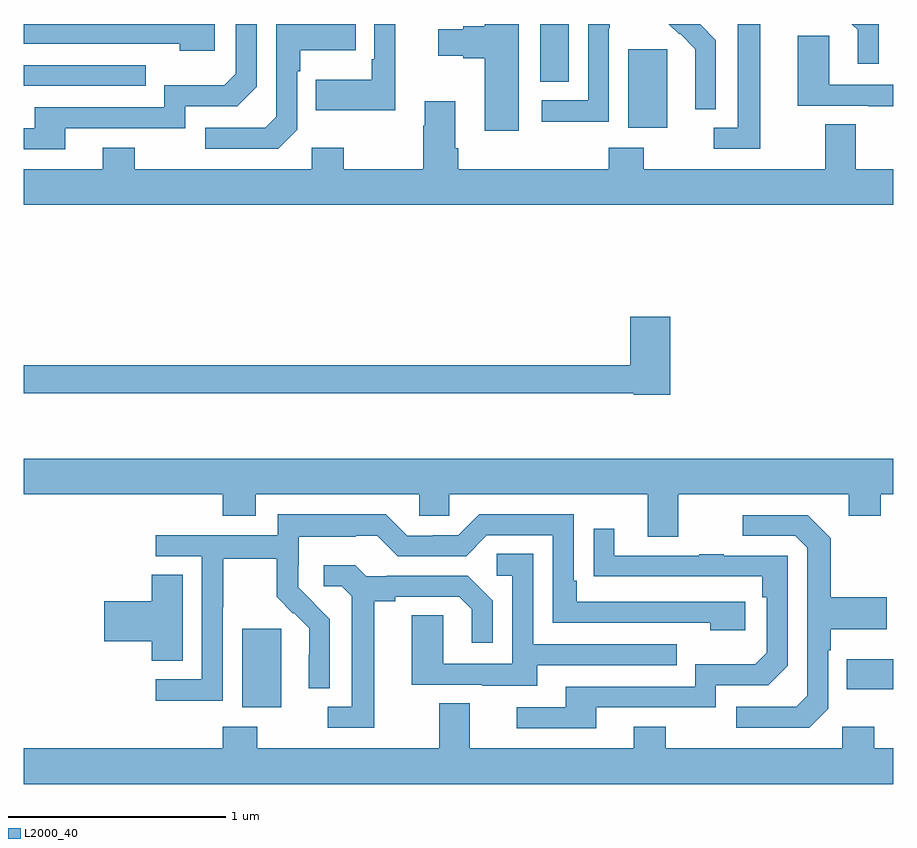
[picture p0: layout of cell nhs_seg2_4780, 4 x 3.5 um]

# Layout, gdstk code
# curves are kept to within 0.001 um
import gdstk
lib = gdstk.Library(unit=1e-6, precision=1e-09)
def R(c, l, rs):  # rectangles x0, y0, x1, y1
    for r in rs: c.add(gdstk.rectangle(r[:2], r[2:], *l))
def P(c, l, *ps):  # polygons
    for p in ps: c.add(gdstk.Polygon(p, *l))
L2000_40 = (2000, 40)

nhs_seg2_4780 = lib.new_cell('nhs_seg2_4780')
R(nhs_seg2_4780, L2000_40, [(372.005,646.658,372.184,647.019), (374.785,646.739,375,646.879), (373.781,649.322,373.96,649.683), (371,649.515,371.561,649.611), (373.376,649.534,373.507,649.8)])
P(nhs_seg2_4780, L2000_40, [(373.276,649.8),(373.121,649.8),(373.121,649.79),(373.022,649.79),(373.022,649.777),(372.906,649.777),(372.906,649.655),(373.022,649.655),(373.022,649.643),(373.121,649.643),(373.121,649.308),(373.276,649.308)],
  [(374.934,649.8),(374.81,649.8),(374.837,649.773),(374.837,649.617),(374.934,649.617)],
  [(374.389,649.8),(374.285,649.8),(374.285,649.323),(374.175,649.323),(374.175,649.227),(374.389,649.227)],
  [(372.258,649.314),(372.258,649.583),(372.271,649.583),(372.271,649.679),(372.527,649.679),(372.527,649.8),(372.162,649.8),(372.162,649.374),(372.111,649.323),(371.835,649.323),(371.835,649.227),(372.171,649.227)],
  [(372.71,649.8),(372.612,649.8),(372.612,649.639),(372.6,649.639),(372.6,649.543),(372.343,649.543),(372.343,649.403),(372.71,649.403)],
  [(371.191,649.32),(371.742,649.32),(371.742,649.422),(371.982,649.422),(372.072,649.512),(372.072,649.8),(371.976,649.8),(371.976,649.572),(371.923,649.519),(371.646,649.519),(371.646,649.416),(371.051,649.416),(371.051,649.32),(371,649.32),(371,649.224),(371.191,649.224)],
  [(374.184,649.726),(374.111,649.799),(374.112,649.8),(373.968,649.8),(374.016,649.752),(374.019,649.755),(374.09,649.685),(374.09,649.562),(374.088,649.562),(374.088,649.408),(374.184,649.408)],
  [(371.878,649.8),(371,649.8),(371,649.71),(371.717,649.71),(371.717,649.676),(371.878,649.676)],
  [(373.692,649.78),(373.695,649.78),(373.695,649.8),(373.596,649.8),(373.596,649.449),(373.383,649.449),(373.383,649.351),(373.692,649.351)],
  [(375,649.521),(374.706,649.521),(374.706,649.745),(374.561,649.745),(374.561,649.425),(374.885,649.425),(374.885,649.421),(375,649.421)],
  [(375,649.132),(374.827,649.132),(374.827,649.34),(374.687,649.34),(374.687,649.132),(373.851,649.132),(373.851,649.231),(373.691,649.231),(373.691,649.132),(372.998,649.132),(372.998,649.228),(372.985,649.228),(372.985,649.444),(372.845,649.444),(372.845,649.331),(372.838,649.331),(372.838,649.132),(372.471,649.132),(372.471,649.231),(372.324,649.231),(372.324,649.132),(371.511,649.132),(371.511,649.231),(371.363,649.231),(371.363,649.132),(371,649.132),(371,648.968),(375,648.968)],
  [(373.973,648.454),(373.79,648.454),(373.79,648.23),(371,648.23),(371,648.102),(373.806,648.102),(373.806,648.094),(373.973,648.094)],
  [(374.011,647.636),(374.795,647.636),(374.795,647.537),(374.943,647.537),(374.943,647.636),(375,647.636),(375,647.8),(371,647.8),(371,647.636),(371.915,647.636),(371.915,647.537),(372.067,647.537),(372.067,647.636),(372.819,647.636),(372.819,647.538),(372.957,647.538),(372.957,647.636),(373.871,647.636),(373.871,647.442),(374.011,647.442)],
  [(371.916,647.116),(371.919,647.116),(371.919,647.34),(372.163,647.34),(372.163,647.165),(372.24,647.088),(372.243,647.091),(372.314,647.021),(372.314,646.898),(372.312,646.898),(372.312,646.744),(372.408,646.744),(372.408,647.062),(372.262,647.21),(372.262,647.307),(372.264,647.307),(372.264,647.441),(372.527,647.441),(372.527,647.445),(372.627,647.445),(372.72,647.352),(373.035,647.352),(373.131,647.448),(373.434,647.448),(373.434,647.046),(374.159,647.046),(374.159,647.012),(374.32,647.012),(374.32,647.142),(373.543,647.142),(373.543,647.239),(373.53,647.239),(373.53,647.544),(373.095,647.544),(372.999,647.448),(372.881,647.448),(372.881,647.445),(372.765,647.445),(372.665,647.545),(372.168,647.545),(372.168,647.448),(371.607,647.448),(371.607,647.352),(371.82,647.352),(371.82,646.785),(371.607,646.785),(371.607,646.687),(371.916,646.687)],
  [(374.7,646.65),(374.7,646.919),(374.713,646.919),(374.713,647.015),(374.969,647.015),(374.969,647.163),(374.713,647.163),(374.713,647.435),(374.607,647.541),(374.307,647.541),(374.307,647.445),(374.55,647.445),(374.604,647.391),(374.604,646.71),(374.553,646.659),(374.277,646.659),(374.277,646.563),(374.613,646.563)],
  [(373.633,646.656),(374.184,646.656),(374.184,646.758),(374.424,646.758),(374.514,646.848),(374.514,647.355),(374.219,647.355),(374.219,647.36),(374.107,647.36),(374.107,647.355),(373.717,647.355),(373.717,647.479),(373.621,647.479),(373.621,647.26),(374.398,647.259),(374.398,647.162),(374.418,647.162),(374.418,646.908),(374.365,646.855),(374.088,646.855),(374.088,646.752),(373.493,646.752),(373.493,646.656),(373.269,646.656),(373.269,646.56),(373.633,646.56)],
  [(373.363,646.851),(374.003,646.851),(374.003,646.947),(373.344,646.947),(373.344,647.363),(373.176,647.363),(373.176,647.262),(373.248,647.262),(373.248,646.857),(372.93,646.857),(372.93,647.081),(372.785,647.081),(372.785,646.761),(373.109,646.761),(373.109,646.757),(373.363,646.757)],
  [(372.613,647.144),(372.709,647.144),(372.709,647.166),(373.004,647.166),(373.061,647.109),(373.061,646.953),(373.158,646.953),(373.158,647.146),(373.042,647.262),(372.67,647.262),(372.67,647.259),(372.576,647.259),(372.524,647.311),(372.381,647.311),(372.381,647.214),(372.462,647.214),(372.509,647.167),(372.509,646.659),(372.399,646.659),(372.399,646.563),(372.613,646.563)],
  [(371.731,647.267),(371.588,647.267),(371.588,647.144),(371.37,647.144),(371.37,646.961),(371.588,646.961),(371.588,646.87),(371.731,646.87)],
  [(375,646.468),(374.913,646.468),(374.913,646.567),(374.766,646.567),(374.766,646.468),(373.953,646.468),(373.953,646.567),(373.805,646.567),(373.805,646.468),(373.051,646.468),(373.051,646.676),(372.911,646.676),(372.911,646.468),(372.075,646.468),(372.075,646.567),(371.915,646.567),(371.915,646.468),(371,646.468),(371,646.304),(375,646.304)])

lib.write_gds('nhs_seg2_4780.gds')
